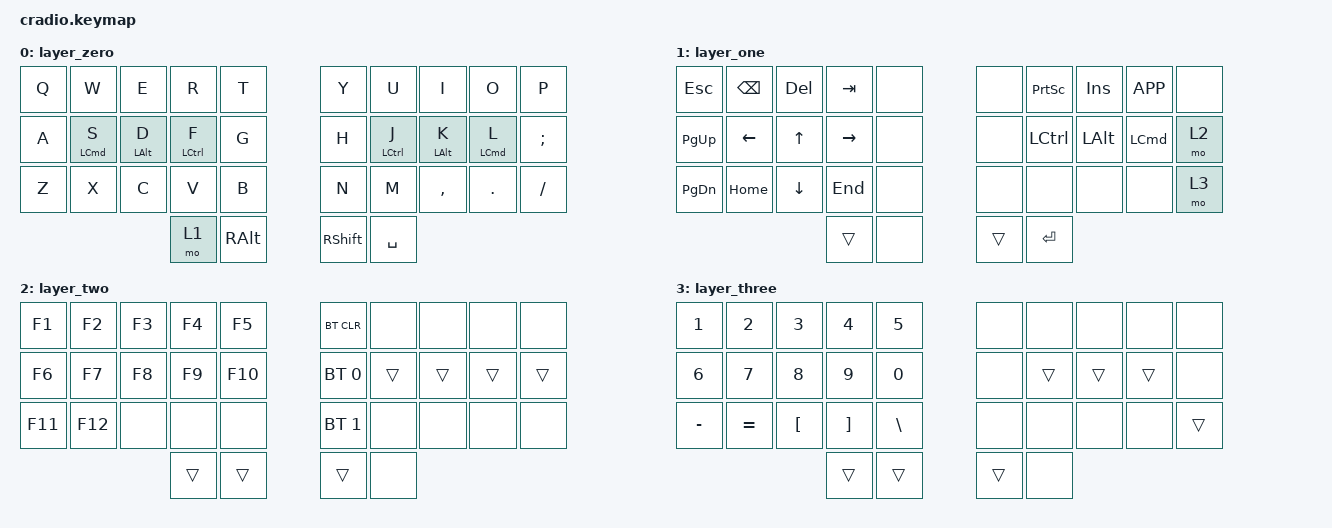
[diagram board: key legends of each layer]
// Copyright (c) 2022 The ZMK Contributors
// SPDX-License-Identifier: MIT

#include <behaviors.dtsi>
#include <dt-bindings/zmk/bt.h>
#include <dt-bindings/zmk/keys.h>
#include <dt-bindings/zmk/keys.h>

/ {
    behaviors {
        ht: hold_tap {
            compatible = "zmk,behavior-hold-tap";
            #binding-cells = <2>;
            flavor = "tap-preferred";
            tapping-term-ms = <250>;
            quick-tap-ms = <200>;
            require-prior-idle-ms = <250>;
            bindings = <&kp>, <&kp>;
        };
    };

    combos { compatible = "zmk,combos"; };

    keymap {
        compatible = "zmk,keymap";

        layer_zero {
            bindings = <
&kp Q  &kp W       &kp E       &kp R        &kp T       &kp Y      &kp U        &kp I       &kp O       &kp P
&kp A  &ht LCMD S  &ht LALT D  &ht LCTRL F  &kp G       &kp H      &ht LCTRL J  &ht LALT K  &ht LCMD L  &kp SEMI
&kp Z  &kp X       &kp C       &kp V        &kp B       &kp N      &kp M        &kp COMMA   &kp DOT     &kp FSLH
                               &mo 1        &kp RALT    &kp RSHFT  &kp SPACE
            >;
        };

        layer_one {
            bindings = <
&kp ESCAPE     &kp BACKSPACE  &kp DELETE  &kp TAB    &none    &none   &kp PRINTSCREEN  &kp INS   &kp K_APP  &none
&kp PAGE_UP    &kp LEFT       &kp UP      &kp RIGHT  &none    &none   &kp LCTRL        &kp LALT  &kp LCMD   &mo 2
&kp PAGE_DOWN  &kp HOME       &kp DOWN    &kp END    &none    &none   &none            &none     &none      &mo 3
                                          &trans     &none    &trans  &kp ENTER
            >;
        };

        layer_two {
            bindings = <
&kp F1   &kp F2   &kp F3  &kp F4  &kp F5     &bt BT_CLR    &none   &none   &none   &none
&kp F6   &kp F7   &kp F8  &kp F9  &kp F10    &bt BT_SEL 0  &trans  &trans  &trans  &trans
&kp F11  &kp F12  &none   &none   &none      &bt BT_SEL 1  &none   &none   &none   &none
                          &trans  &trans     &trans        &none
            >;
        };

        layer_three {
            bindings = <
&kp N1     &kp N2     &kp N3    &kp N4    &kp N5      &none   &none   &none   &none   &none
&kp N6     &kp N7     &kp N8    &kp N9    &kp N0      &none   &trans  &trans  &trans  &none
&kp MINUS  &kp EQUAL  &kp LBKT  &kp RBKT  &kp BSLH    &none   &none   &none   &none   &trans
                                &trans    &trans      &trans  &none
            >;
        };
    };
};
